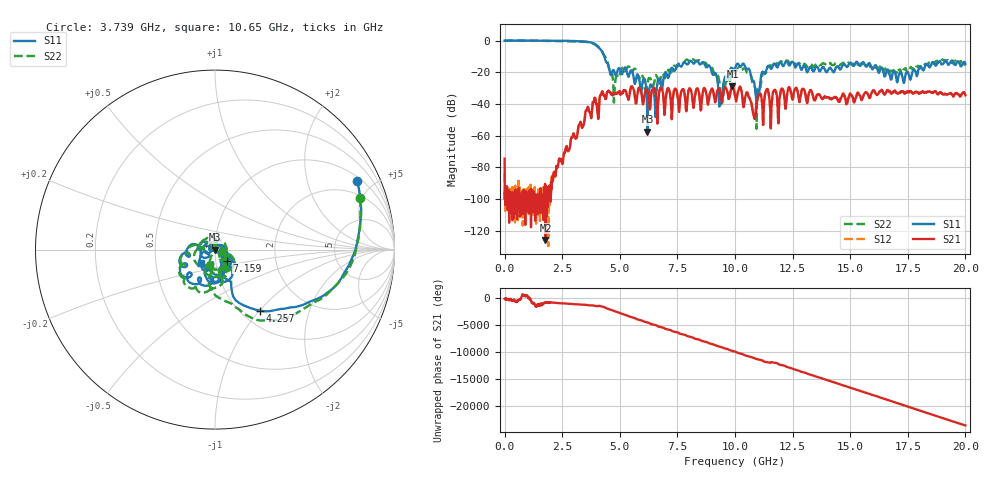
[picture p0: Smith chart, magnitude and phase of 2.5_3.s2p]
#  HZ  S  RI  R  50.00
! Rohde & Schwarz Vector Network Analyzer
! Rohde-Schwarz,ZNB20-2Port,1311601062102128,3.60
! Created: UTC 4/29/2024, 2:52:26 PM
! freq[Hz]  re:S11  im:S11  re:S21  im:S21  re:S12  im:S12  re:S22  im:S22
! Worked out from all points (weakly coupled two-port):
!   2007 points, 100 kHz to 20 GHz, reference 50 ohm
!   highest |S21| = -28.90 dB at 9.89 GHz (marker M1); lowest = -125.8 dB at 1.775 GHz (marker M2)
!   lowest |S11| = -57.5 dB at 6.201 GHz (marker M3), VSWR 1.00, Z = 49.9 - j0.0268 ohm
!   |S11| at or under -10 dB: 4.329 GHz to end of sweep
!   |S22| runs from -55.7 to 0.1 dB; largest |S21 - S12| = 0.0022
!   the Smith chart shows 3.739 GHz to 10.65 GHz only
!   S11 on the Smith chart (normalised r, x): 3.739 GHz: 1.21, +4.03; 4.257 GHz: 1.22, -1.01; 7.159 GHz: 1.14, -0.14; 10.65 GHz: 0.85, -0.13
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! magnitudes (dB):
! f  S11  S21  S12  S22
! 100 kHz  0.0  -74.6  -83.9  0.1
! 1.775 GHz  -0.1  -125.8  -96.7  -0.2
! 2.233 GHz  0.0  -82.8  -83.3  -0.3
! 3.34 GHz  -0.6  -54.2  -54.0  -0.6
! 3.739 GHz  -1.1  -47.5  -47.4  -1.3
! 4.257 GHz  -7.5  -33.0  -32.6  -7.6
! 4.766 GHz  -19.8  -33.4  -33.5  -32.7
! 5.364 GHz  -22.7  -36.7  -36.7  -16.3
! 6.201 GHz  -57.5  -32.3  -32.4  -27.4
! 6.67 GHz  -24.5  -37.9  -37.8  -25.7
! 7.159 GHz  -20.8  -32.1  -32.1  -19.2
! 8.614 GHz  -13.6  -31.7  -31.7  -14.3
! 9.153 GHz  -20.6  -38.4  -38.3  -21.8
! 9.372 GHz  -35.7  -33.7  -33.8  -33.6
! 9.89 GHz  -17.4  -28.9  -28.9  -19.5
! 10 GHz  -17.8  -34.5  -34.5  -20.4
! 10.65 GHz  -19.4  -37.0  -37.0  -20.8
! 10.97 GHz  -32.0  -37.8  -37.8  -33.7
! 11.71 GHz  -14.5  -31.5  -31.6  -14.0
! 13.34 GHz  -18.0  -32.7  -32.6  -15.3
! 16.67 GHz  -19.1  -31.8  -31.8  -20.5
! 20 GHz  -14.6  -34.5  -34.5  -14.3
